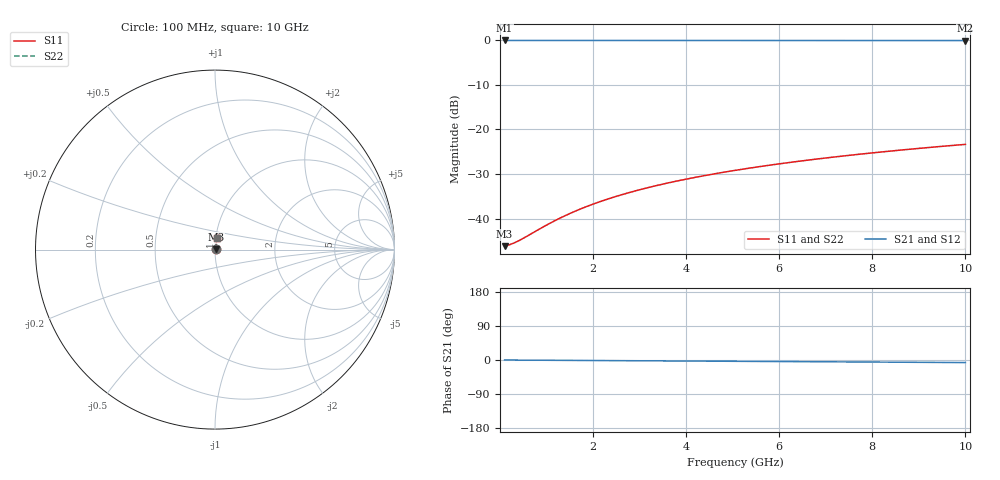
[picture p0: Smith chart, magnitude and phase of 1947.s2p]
# Hz S RI R 50.00
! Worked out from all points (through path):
!   100 points, 100 MHz to 10 GHz, reference 50 ohm
!   highest |S21| = -0.04 dB at 100 MHz (marker M1); lowest = -0.1 dB at 10 GHz (marker M2)
!   lowest |S11| = -46.2 dB at 100 MHz (marker M3), VSWR 1.01, Z = 50.5 + j0.0681 ohm
!   |S11| at or under -10 dB: start of sweep to end of sweep
!   |S22| runs from -46.2 to -23.4 dB; largest |S21 - S12| = 0
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1e8  0.00485 0.000674  0.9951 -0.00118  0.9951 -0.00118  0.00485 0.000674
2e8  0.00489 0.00135  0.9951 -0.00236  0.9951 -0.00236  0.00489 0.00135
3e8  0.00491 0.00202  0.9951 -0.00354  0.9951 -0.00354  0.00491 0.00202
4e8  0.00494 0.0027  0.9951 -0.00472  0.9951 -0.00472  0.00494 0.0027
1e9  0.00508 0.00674  0.9949 -0.0118  0.9949 -0.0118  0.00508 0.00674
1.2e9  0.00513 0.00809  0.9948 -0.0142  0.9948 -0.0142  0.00513 0.00809
1.5e9  0.00522 0.0101  0.9947 -0.0177  0.9947 -0.0177  0.00522 0.0101
1.8e9  0.00532 0.0121  0.9946 -0.0212  0.9946 -0.0212  0.00532 0.0121
2.1e9  0.00543 0.0141  0.9945 -0.0248  0.9945 -0.0248  0.00543 0.0141
2.5e9  0.0056 0.0168  0.9943 -0.0295  0.9943 -0.0295  0.0056 0.0168
2.9e9  0.0058 0.0195  0.9941 -0.0342  0.9941 -0.0342  0.0058 0.0195
3.4e9  0.00607 0.0229  0.9938 -0.0401  0.9938 -0.0401  0.00607 0.0229
3.8e9  0.00632 0.0256  0.9935 -0.0448  0.9935 -0.0448  0.00632 0.0256
4.2e9  0.00659 0.0282  0.9932 -0.0495  0.9932 -0.0495  0.00659 0.0282
4.6e9  0.00689 0.0309  0.9928 -0.0542  0.9928 -0.0542  0.00689 0.0309
5.1e9  0.0073 0.0343  0.9923 -0.0601  0.9923 -0.0601  0.0073 0.0343
5.9e9  0.00803 0.0396  0.9915 -0.0695  0.9915 -0.0695  0.00803 0.0396
6.7e9  0.00886 0.0449  0.9905 -0.0788  0.9905 -0.0788  0.00886 0.0449
7.5e9  0.00979 0.0502  0.9894 -0.0882  0.9894 -0.0882  0.00979 0.0502
8.4e9  0.011 0.0561  0.9881 -0.0987  0.9881 -0.0987  0.011 0.0561
9.2e9  0.0121 0.0614  0.9868 -0.108  0.9868 -0.108  0.0121 0.0614
1e10  0.0133 0.0666  0.9853 -0.1173  0.9853 -0.1173  0.0133 0.0666
